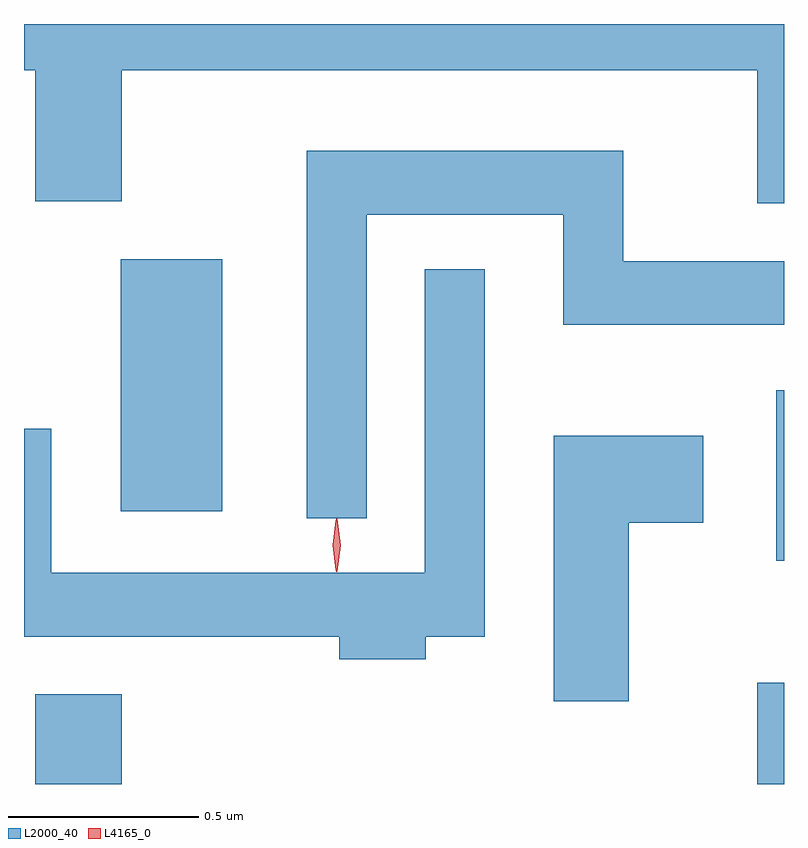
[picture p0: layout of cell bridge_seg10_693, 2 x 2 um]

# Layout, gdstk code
import gdstk
lib = gdstk.Library(unit=1e-6, precision=1e-09)
def R(c, l, rs):  # rectangles x0, y0, x1, y1
    for r in rs: c.add(gdstk.rectangle(r[:2], r[2:], *l))
def P(c, l, *ps):  # polygons
    for p in ps: c.add(gdstk.Polygon(p, *l))
L2000_40 = (2000, 40)
L4165_0 = (4165, 0)

bridge_seg10_693 = lib.new_cell('bridge_seg10_693')
R(bridge_seg10_693, L2000_40, [(856.251,2143.118,856.479,2143.354), (858.151,2143.118,858.222,2143.384), (858.201,2143.706,858.222,2144.154), (856.476,2143.836,856.744,2144.499)])
P(bridge_seg10_693, L2000_40, [(858.222,2145.118),(856.222,2145.118),(856.222,2144.996),(856.251,2144.996),(856.251,2144.651),(856.479,2144.651),(856.479,2144.996),(858.151,2144.996),(858.151,2144.646),(858.222,2144.646)],
  [(857.124,2144.616),(857.641,2144.616),(857.641,2144.326),(858.222,2144.326),(858.222,2144.494),(857.799,2144.494),(857.799,2144.784),(856.966,2144.784),(856.966,2143.818),(857.124,2143.818)],
  [(857.279,2143.506),(857.434,2143.506),(857.434,2144.473),(857.276,2144.473),(857.276,2143.674),(856.294,2143.674),(856.294,2144.053),(856.222,2144.053),(856.222,2143.506),(857.051,2143.506),(857.051,2143.446),(857.279,2143.446)],
  [(857.814,2143.806),(858.009,2143.806),(858.009,2144.034),(857.616,2144.034),(857.616,2143.336),(857.814,2143.336)])
P(bridge_seg10_693, L4165_0, [(857.044,2143.679),(857.043,2143.68),(857.034,2143.746),(857.043,2143.812),(857.044,2143.813),(857.044,2143.812),(857.054,2143.746),(857.044,2143.68)],
  [(857.044,2143.677),(857.035,2143.746),(857.044,2143.816),(857.045,2143.816),(857.046,2143.816),(857.055,2143.746),(857.046,2143.677),(857.045,2143.677)])

lib.write_gds('bridge_seg10_693.gds')
